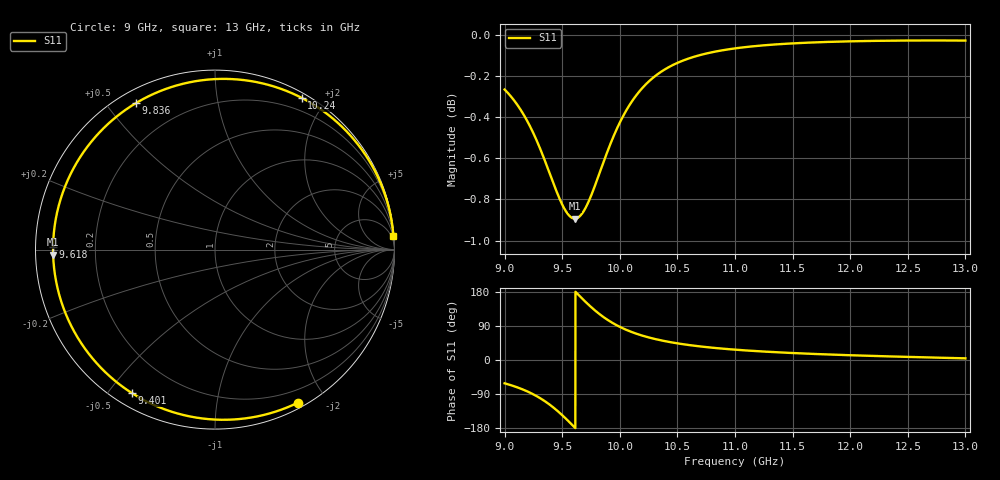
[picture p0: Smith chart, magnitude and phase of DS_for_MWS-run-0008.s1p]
! TOUCHSTONE file generated by CST DESIGN STUDIO
! Date and time: Tue Feb  4 18:20:23 2025
! Project name: C:\Work\MatlabApps\UnitCellOptimizationMatlab\CST\unitcell.cst
! Tree item: Tasks\Sweep1\SPara1\S-Parameters
! Header version: 2024
! Port assignment regex: !\s*Touchstone port\s*([0-9]+)\s*=\s*(CST MWS port|CST DES external port|CST DES block port)\s*(.+)\s* \(\"(.*)\"\)(\s*mode\s*([0-9]+))?.*
! Touchstone port assignment:
! Touchstone port 1 = CST DES external port 1 ("")
# GHz S MA R 50
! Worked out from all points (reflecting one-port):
!   4001 points, 9 GHz to 13 GHz, reference 50 ohm
!   lowest |S11| = -0.9 dB at 9.609 GHz (marker M1), VSWR 19.46, Z = 2.57 - j0.801 ohm
!   phase of S11 starts at -62 deg and turns -294 deg over the sweep
!   S11 on the Smith chart (normalised r, x): 9 GHz: 0.06, -1.68; 9.401 GHz: 0.05, -0.58; 9.618 GHz: 0.05, +0.01; 9.836 GHz: 0.05, +0.60; 10.24 GHz: 0.05, +1.72; 13 GHz: 1, +26
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9  0.9699 -61.5
9.052  0.9663 -66.2
9.124  0.9604 -73.7
9.186  0.9541 -81.4
9.247  0.9468 -90.3
9.329  0.9352 -104.6
9.401  0.9239 -120.0
9.451  0.9161 -132.3
9.5  0.9094 -145.6
9.557  0.904 -162.2
9.609  0.9023 -178.2
9.618  0.9023 179.1
9.663  0.9041 165.2
9.711  0.9086 151.0
9.774  0.9174 133.5
9.836  0.9275 118.3
9.912  0.9398 102.4
10  0.9521 87.5
10.115  0.9643 72.5
10.242  0.9737 60.3
10.362  0.9797 51.6
10.5  0.9844 43.9
10.72  0.9891 35.1
11  0.9925 27.3
11.5  0.9952 18.4
12  0.9964 12.6
12.5  0.9968 8.2
13  0.9968 4.4
